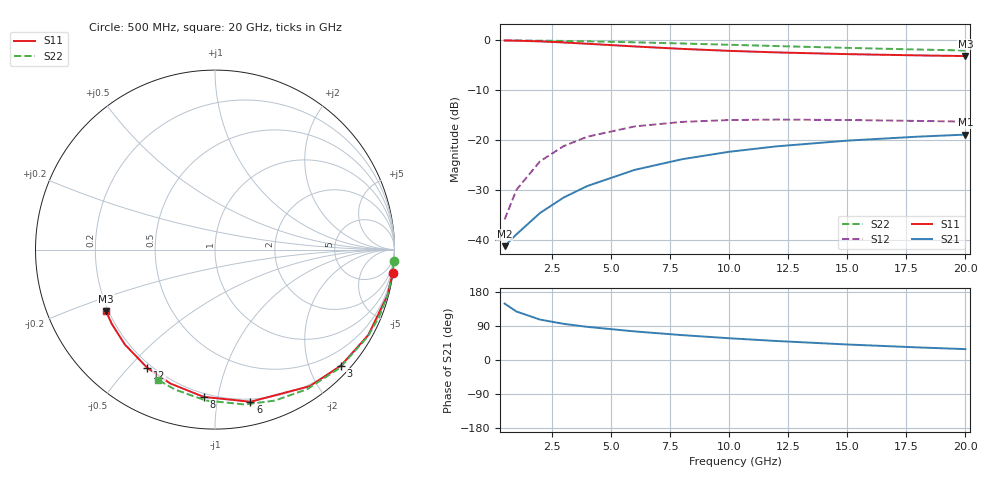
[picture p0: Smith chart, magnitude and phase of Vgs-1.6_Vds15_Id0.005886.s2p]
# Hz S RI R 50
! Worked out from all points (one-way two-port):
!   12 points, 500 MHz to 20 GHz, reference 50 ohm
!   highest |S21| = -18.86 dB at 20 GHz (marker M1); lowest = -41.2 dB at 500 MHz (marker M2)
!   lowest |S11| = -3.1 dB at 20 GHz (marker M3), VSWR 5.61, Z = 9.51 - j12.7 ohm
!   |S11| at or under -10 dB: nowhere
!   |S22| runs from -2.0 to 0.0 dB; largest |S21 - S12| = 0.12
!   S11 on the Smith chart (normalised r, x): 500 MHz: 0, -15; 3 GHz: 0.18, -2.55; 6 GHz: 0.18, -1.24; 8 GHz: 0.18, -0.91; 12 GHz: 0.18, -0.56; 20 GHz: 0.19, -0.25
5e8  0.9901 -0.1292  -0.00745 0.00451  0.00153 0.0161  0.997 -0.0658
1e9  0.9611 -0.2541  -0.00703 0.00902  0.006 0.0314  0.9896 -0.131
2e9  0.8538 -0.4766  -0.00536 0.0179  0.0224 0.0575  0.9603 -0.2578
3e9  0.701 -0.6471  -0.0025 0.0266  0.0451 0.0749  0.9134 -0.3766
4e9  0.5282 -0.761  0.00154 0.0348  0.0698 0.0832  0.8513 -0.4847
6e9  0.1975 -0.8477  0.0127 0.0489  0.1129 0.0787  0.6945 -0.6596
8e9  -0.0628 -0.8206  0.0266 0.0589  0.1407 0.0598  0.5147 -0.7771
1e10  -0.2489 -0.746  0.0413 0.0646  0.1548 0.0382  0.3338 -0.8412
1.2e10  -0.3786 -0.6576  0.0557 0.0668  0.1601 0.0188  0.1649 -0.8629
1.5e10  -0.5032 -0.5276  0.075 0.065  0.1596 -0.00368  -0.0526 -0.8405
1.8e10  -0.5763 -0.4117  0.091 0.0596  0.1551 -0.0194  -0.2242 -0.7791
2e10  -0.6072 -0.3429  0.1 0.0547  0.1515 -0.0272  -0.3156 -0.727
